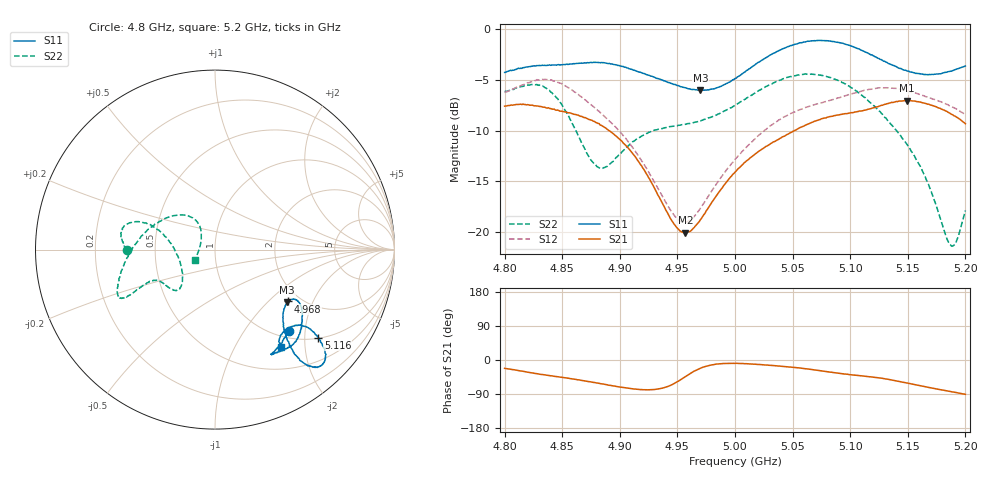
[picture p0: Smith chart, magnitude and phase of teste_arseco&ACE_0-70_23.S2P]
! Network Analyzer HP8722D
! Hewlett-Packard
! Data name: Linha & Wilkinson
! Saver's name: Rodrigo Anjos
! Comments: Teste da utilização de aquisição
! continua pelo VNA HP8722D
! Time and date: 8/5/2025 12:57
!  Frequency  S11  S21  S12  S22
# HZ  S  MA R 50
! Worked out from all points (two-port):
!   401 points, 4.8 GHz to 5.2 GHz, reference 50 ohm
!   highest |S21| = -7.05 dB at 5.149 GHz (marker M1); lowest = -20.0 dB at 4.957 GHz (marker M2)
!   |S21| within 3 dB of the highest: start of sweep to 4.891 GHz; 5.051 GHz to end of sweep
!   lowest |S11| = -6.1 dB at 4.97 GHz (marker M3), VSWR 2.99, Z = 84.5 - j66.2 ohm
!   |S11| at or under -10 dB: nowhere
!   |S22| runs from -21.4 to -4.4 dB; largest |S21 - S12| = 0.95
!   S11 on the Smith chart (normalised r, x): 4.8 GHz: 1.14, -1.64; 4.968 GHz: 1.72, -1.33; 5.116 GHz: 1.02, -2.33; 5.2 GHz: 0.82, -1.57
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4.8e9  0.6106 -47.7  0.4169 -22.1  0.4863 -175.7  0.4914 -179.9
4.835e9  0.662 -61.6  0.4117 -39.5  0.5646 168.8  0.5142 164.2
4.85e9  0.6657 -59.9  0.3931 -45.8  0.5346 159.2  0.421 159.3
4.867e9  0.6785 -55.0  0.3713 -53.9  0.4614 150.8  0.2741 167.0
4.885e9  0.6818 -48.8  0.3327 -63.1  0.3788 144.4  0.2064 -160.3
4.91e9  0.632 -40.2  0.2486 -75.6  0.2663 137.7  0.2743 -133.0
4.934e9  0.568 -33.0  0.1497 -76.1  0.1614 141.2  0.3228 -135.4
4.948e9  0.5334 -31.6  0.1082 -60.8  0.1196 157.4  0.3343 -140.8
4.957e9  0.5135 -32.7  0.09973 -43.5  0.112 174.9  0.3398 -144.9
4.968e9  0.499 -35.4  0.1113 -24.4  0.1266 -166.0  0.3506 -149.3
4.97e9  0.4982 -36.2  0.1155 -21.7  0.1312 -163.4  0.3527 -149.8
5e9  0.5697 -47.9  0.1975 -9.0  0.2282 -146.7  0.4207 -153.9
5.038e9  0.7807 -52.5  0.2867 -16.0  0.3569 -147.7  0.557 -151.8
5.067e9  0.8723 -48.4  0.3475 -25.2  0.4211 -154.4  0.5985 -155.0
5.086e9  0.8654 -44.7  0.3746 -33.2  0.4511 -159.3  0.5662 -161.4
5.116e9  0.7563 -40.4  0.403 -43.9  0.5039 -172.0  0.4407 175.6
5.134e9  0.6737 -40.0  0.4319 -51.5  0.5124 177.4  0.347 153.2
5.149e9  0.623 -42.7  0.4439 -60.5  0.4963 169.0  0.2722 134.6
5.166e9  0.5958 -48.3  0.4291 -71.1  0.4636 161.2  0.1816 122.6
5.187e9  0.6187 -54.7  0.3834 -83.3  0.417 153.9  0.08693 158.8
5.192e9  0.6324 -55.3  0.3692 -85.8  0.4047 151.9  0.0898 -178.0
5.2e9  0.6567 -55.7  0.3417 -90.5  0.3779 149.4  0.128 -152.0
